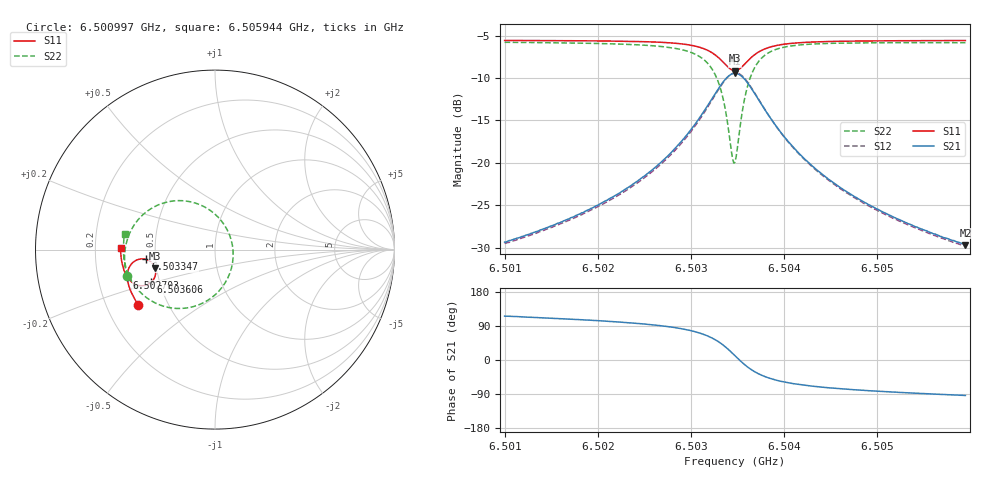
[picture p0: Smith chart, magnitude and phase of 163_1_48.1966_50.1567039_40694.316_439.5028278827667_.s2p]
#  HZ  S  RI  R  50.00
! Rohde & Schwarz Vector Network Analyzer
! Rohde-Schwarz,ZNB20-2Port,1311601062101988,3.16
! Created: UTC 3/20/2024, 11:43:18 AM
! freq[Hz]  re:S11  im:S11  re:S21  im:S21  re:S12  im:S12  re:S22  im:S22
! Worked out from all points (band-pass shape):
!   401 points, 6.500997 GHz to 6.505944 GHz, reference 50 ohm
!   highest |S21| = -9.45 dB at 6.50347 GHz (marker M1); lowest = -29.7 dB at 6.505944 GHz (marker M2)
!   |S21| within 3 dB of the highest: 6.503222 GHz to 6.503717 GHz (494.9 kHz wide, 0.00761 % of centre)
!   lowest |S11| = -9.1 dB at 6.50347 GHz (marker M3), VSWR 2.08, Z = 24.5 - j5.86 ohm
!   |S11| at or under -10 dB: nowhere
!   |S22| runs from -20.0 to -5.8 dB; largest |S21 - S12| = 0.012
!   S11 on the Smith chart (normalised r, x): 6.500997 GHz: 0.34, -0.29; 6.502703 GHz: 0.33, -0.14; 6.503347 GHz: 0.44, -0.06; 6.503606 GHz: 0.45, -0.19; 6.505944 GHz: 0.31, +0.01
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6.5009966e9  -0.4284 -0.3062  -0.0148 0.0308  -0.0132 0.0309  -0.4915 -0.1493
6.5018253e9  -0.4637 -0.2444  -0.0142 0.0488  -0.0117 0.0482  -0.5038 -0.0602
6.5022829e9  -0.4795 -0.2036  -0.011 0.0686  -0.00802 0.0673  -0.5 0.00579
6.502654e9  -0.488 -0.162  -0.00168 0.0984  0.0019 0.096  -0.4796 0.0816
6.5027035e9  -0.4885 -0.1554  0.000878 0.1042  0.00452 0.1015  -0.4741 0.0942
6.5029385e9  -0.4852 -0.1186  0.0235 0.1409  0.0271 0.1366  -0.4267 0.1684
6.5030993e9  -0.4706 -0.0864  0.0626 0.1769  0.0657 0.171  -0.3502 0.2318
6.5032477e9  -0.4331 -0.0568  0.1441 0.2056  0.145 0.1992  -0.2015 0.2728
6.5033466e9  -0.3869 -0.054  0.2353 0.1889  0.2354 0.184  -0.0437 0.2295
6.5034332e9  -0.3443 -0.0829  0.3131 0.1143  0.3155 0.1099  0.0805 0.0828
6.5034579e9  -0.3364 -0.0972  0.3265 0.0827  0.3296 0.0774  0.0971 0.0228
6.5034703e9  -0.3336 -0.1049  0.3306 0.0658  0.334 0.0601  0.1008 -0.00867
6.5034951e9  -0.3308 -0.121  0.334 0.0314  0.3377 0.0244  0.098 -0.0717
6.5035322e9  -0.3329 -0.1448  0.3266 -0.0187  0.3297 -0.0277  0.0703 -0.1601
6.5036064e9  -0.3551 -0.1815  0.2798 -0.0945  0.2796 -0.1059  -0.0395 -0.282
6.5037177e9  -0.4005 -0.2012  0.1935 -0.1394  0.188 -0.149  -0.2147 -0.3277
6.5038785e9  -0.4474 -0.1917  0.11 -0.1356  0.103 -0.1406  -0.3649 -0.2792
6.5040516e9  -0.4751 -0.1703  0.0649 -0.1148  0.0584 -0.1169  -0.4379 -0.2127
6.504299e9  -0.4959 -0.1404  0.0344 -0.0897  0.0296 -0.0902  -0.4818 -0.1394
6.5046577e9  -0.5112 -0.1026  0.0156 -0.0666  0.0121 -0.0661  -0.504 -0.0661
6.5051277e9  -0.521 -0.0588  0.00511 -0.049  0.00287 -0.0484  -0.5107 0.00187
6.505944e9  -0.5259 0.0107  -0.00205 -0.0328  -0.00338 -0.0322  -0.5029 0.0892
